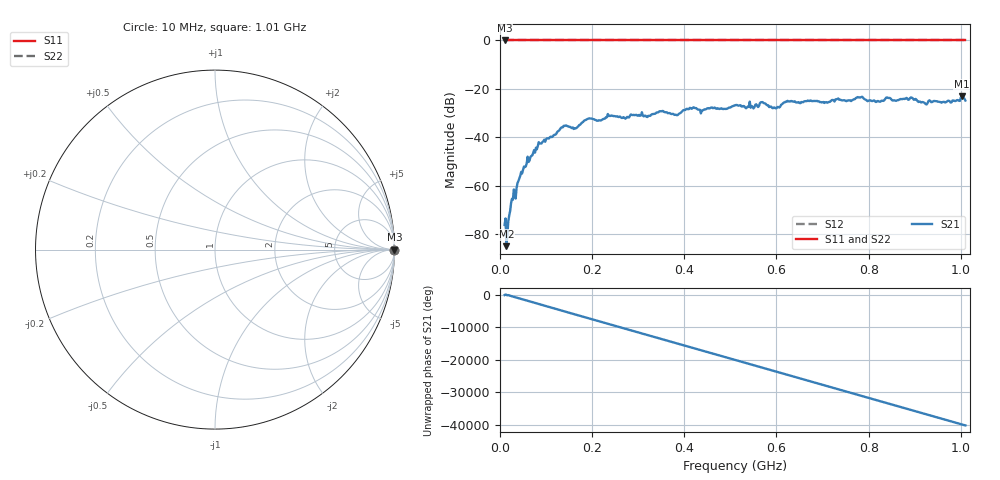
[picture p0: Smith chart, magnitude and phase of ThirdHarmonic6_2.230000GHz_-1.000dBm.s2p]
! 8/17/2025 2:32:02 AM
! C:\ANRITSUVNA\TEMP\TEMP.S2P
! CHANNEL.1
! TR.MEASUREMENT
! RAW.DATA
! RF.CORRECTION.OFF
! AVERAGING.OFF
! IF.BANDWIDTH: 5KHZ
! SWEEPTYPE:  FREQ.SWEEP(Linear)
! Reference Plane Port Info
! PORT:  PORT1  PORT2
! DISTANCE:  0  m  0  m
! TIME:  0  s  0  s
! PHASE.OFFSET:  0  deg.  0  deg.
! LOSS:  0  dB  0  dB
! REF.LOSS:  0  dB  0  dB
! REF.FREQ:  0  Hz  0  Hz
! Power Info
! POWER:  -20  dBm  -20  dBm
! EFF.POWER:  -20  dBm  -20  dBm
! SOURCE.ATTEN:  0  dB  0  dB
! TEST.ATTEN:  0  dB  0  dB
# GHZ S RI R 50.0
! FREQ.GHZ  S11RE  S11IM  S21RE  S21IM  S12RE  S12IM  S22RE  S22IM
!; PortSelection: Port_12
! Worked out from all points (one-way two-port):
!   501 points, 10 MHz to 1.01 GHz, reference 50 ohm
!   highest |S21| = -22.99 dB at 1.002 GHz (marker M1); lowest = -84.9 dB at 14 MHz (marker M2)
!   lowest |S11| = 0.0 dB at 10 MHz (marker M3)
!   |S11| at or under -10 dB: nowhere
!   |S22| runs from 0.0 to 0.0 dB; largest |S21 - S12| = 1.1
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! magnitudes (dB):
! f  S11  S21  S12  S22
! 10 MHz  0.0  -76.1  0.0  0.0
! 14 MHz  0.0  -84.9  0.0  0.0
! 18 MHz  0.0  -74.5  0.0  0.0
! 28 MHz  0.0  -65.8  0.0  0.0
! 42 MHz  0.0  -56.8  0.0  0.0
! 82 MHz  0.0  -43.6  0.0  0.0
! 138 MHz  0.0  -35.2  0.0  0.0
! 164 MHz  0.0  -36.3  0.0  0.0
! 178 MHz  0.0  -33.9  0.0  0.0
! 344 MHz  0.0  -29.6  0.0  0.0
! 382 MHz  0.0  -30.7  0.0  0.0
! 416 MHz  0.0  -28.2  0.0  0.0
! 510 MHz  0.0  -26.8  0.0  0.0
! 548 MHz  0.0  -27.4  0.0  0.0
! 570 MHz  0.0  -25.4  0.0  0.0
! 596 MHz  0.0  -27.7  0.0  0.0
! 622 MHz  0.0  -25.3  0.0  0.0
! 678 MHz  0.0  -25.0  0.0  0.0
! 844 MHz  0.0  -23.7  0.0  0.0
! 924 MHz  0.0  -26.3  0.0  0.0
! 1.002 GHz  0.0  -23.0  0.0  0.0
! 1.01 GHz  0.0  -24.8  0.0  0.0
